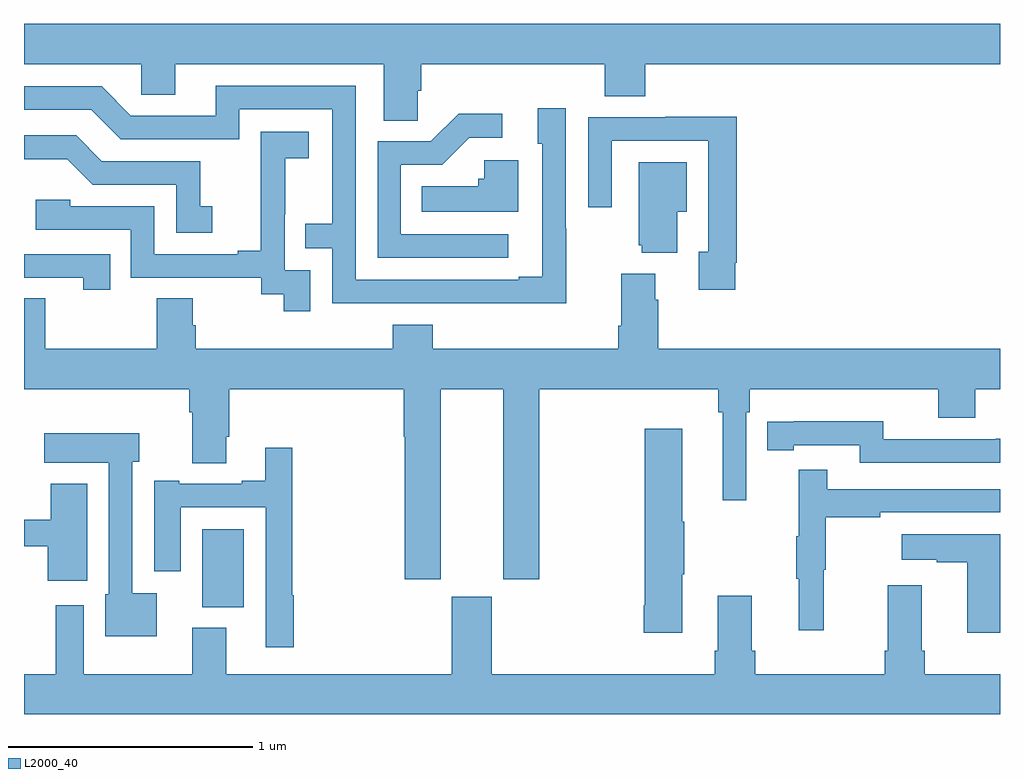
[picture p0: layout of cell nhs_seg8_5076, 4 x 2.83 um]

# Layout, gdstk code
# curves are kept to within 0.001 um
import gdstk
lib = gdstk.Library(unit=1e-6, precision=1e-09)
def R(c, l, rs):  # rectangles x0, y0, x1, y1
    for r in rs: c.add(gdstk.rectangle(r[:2], r[2:], *l))
def P(c, l, *ps):  # polygons
    for p in ps: c.add(gdstk.Polygon(p, *l))
L2000_40 = (2000, 40)

nhs_seg8_5076 = lib.new_cell('nhs_seg8_5076')
R(nhs_seg8_5076, L2000_40, [(417.731,1112.942,417.901,1113.262)])
P(nhs_seg8_5076, L2000_40, [(418.614,1115.059),(418.628,1115.059),(418.628,1115.168),(419.381,1115.168),(419.381,1115.035),(419.546,1115.035),(419.546,1115.168),(421,1115.168),(421,1115.332),(417,1115.332),(417,1115.168),(417.48,1115.168),(417.48,1115.041),(417.619,1115.041),(417.619,1115.168),(418.475,1115.168),(418.475,1114.936),(418.614,1114.936)],
  [(419.223,1114.493),(419.22,1114.493),(419.22,1114.987),(419.105,1114.987),(419.105,1114.842),(419.124,1114.842),(419.124,1114.297),(419.027,1114.297),(419.027,1114.284),(418.359,1114.284),(418.359,1115.079),(417.785,1115.079),(417.785,1114.956),(417.438,1114.956),(417.318,1115.076),(417,1115.076),(417,1114.98),(417.276,1114.98),(417.396,1114.86),(417.882,1114.86),(417.882,1114.983),(418.263,1114.983),(418.263,1114.514),(418.153,1114.514),(418.153,1114.413),(418.263,1114.413),(418.263,1114.188),(419.223,1114.187)],
  [(418.984,1114.47),(418.545,1114.47),(418.545,1114.755),(418.714,1114.755),(418.825,1114.866),(418.96,1114.866),(418.96,1114.964),(418.781,1114.964),(418.668,1114.851),(418.449,1114.851),(418.449,1114.374),(418.984,1114.374)],
  [(419.914,1114.354),(419.921,1114.354),(419.921,1114.952),(419.629,1114.952),(419.629,1114.95),(419.313,1114.95),(419.313,1114.581),(419.409,1114.581),(419.409,1114.854),(419.805,1114.854),(419.805,1114.398),(419.765,1114.398),(419.765,1114.242),(419.914,1114.242)],
  [(418.173,1114.323),(418.068,1114.323),(418.068,1114.553),(418.07,1114.553),(418.07,1114.781),(418.168,1114.781),(418.168,1114.891),(417.97,1114.891),(417.97,1114.685),(417.971,1114.685),(417.971,1114.402),(417.875,1114.402),(417.875,1114.389),(417.534,1114.389),(417.534,1114.584),(417.189,1114.584),(417.189,1114.611),(417.049,1114.611),(417.049,1114.488),(417.438,1114.488),(417.438,1114.293),(417.972,1114.293),(417.972,1114.225),(418.065,1114.225),(418.065,1114.155),(418.173,1114.155)],
  [(417.772,1114.585),(417.723,1114.585),(417.723,1114.77),(417.319,1114.77),(417.214,1114.875),(417,1114.875),(417,1114.778),(417.178,1114.778),(417.282,1114.674),(417.624,1114.674),(417.624,1114.476),(417.772,1114.476)],
  [(419.026,1114.774),(418.887,1114.774),(418.887,1114.698),(418.861,1114.698),(418.861,1114.666),(418.63,1114.666),(418.63,1114.562),(419.026,1114.562)],
  [(419.677,1114.562),(419.716,1114.562),(419.716,1114.765),(419.519,1114.765),(419.519,1114.425),(419.531,1114.425),(419.531,1114.394),(419.677,1114.394)],
  [(417.353,1114.389),(417,1114.389),(417,1114.293),(417.242,1114.293),(417.242,1114.242),(417.353,1114.242)],
  [(418.708,1113.836),(418.964,1113.836),(418.964,1113.057),(419.112,1113.057),(419.112,1113.836),(419.845,1113.836),(419.845,1113.74),(419.864,1113.74),(419.864,1113.381),(419.961,1113.381),(419.961,1113.74),(419.975,1113.74),(419.975,1113.836),(420.746,1113.836),(420.746,1113.719),(420.899,1113.719),(420.899,1113.836),(421,1113.836),(421,1114),(419.6,1114),(419.6,1114.202),(419.587,1114.202),(419.587,1114.309),(419.447,1114.309),(419.447,1114.096),(419.435,1114.096),(419.435,1114),(418.676,1114),(418.676,1114.099),(418.511,1114.099),(418.511,1114),(417.704,1114),(417.704,1114.098),(417.691,1114.098),(417.691,1114.208),(417.544,1114.208),(417.544,1114),(417.087,1114),(417.087,1114.208),(417,1114.208),(417,1113.836),(417.677,1113.836),(417.677,1113.74),(417.689,1113.74),(417.689,1113.532),(417.829,1113.532),(417.829,1113.64),(417.842,1113.64),(417.842,1113.836),(418.556,1113.836),(418.556,1113.64),(418.561,1113.64),(418.561,1113.057),(418.708,1113.057)],
  [(421,1113.632),(420.982,1113.632),(420.982,1113.63),(420.522,1113.63),(420.522,1113.703),(420.154,1113.703),(420.154,1113.702),(420.046,1113.702),(420.046,1113.586),(420.154,1113.586),(420.154,1113.606),(420.426,1113.606),(420.426,1113.534),(421,1113.534)],
  [(419.698,1113.076),(419.706,1113.076),(419.706,1113.293),(419.698,1113.293),(419.698,1113.673),(419.545,1113.673),(419.545,1112.95),(419.54,1112.95),(419.54,1112.838),(419.698,1112.838)],
  [(417.544,1112.998),(417.444,1112.998),(417.444,1113.537),(417.472,1113.537),(417.472,1113.655),(417.084,1113.655),(417.084,1113.533),(417.348,1113.533),(417.348,1112.994),(417.332,1112.994),(417.332,1112.822),(417.544,1112.822)],
  [(418.106,1112.99),(418.099,1112.99),(418.099,1113.595),(417.989,1113.595),(417.989,1113.46),(417.893,1113.46),(417.893,1113.447),(417.637,1113.447),(417.637,1113.46),(417.533,1113.46),(417.533,1113.09),(417.643,1113.09),(417.643,1113.351),(417.99,1113.351),(417.99,1112.778),(418.106,1112.778)],
  [(420.278,1113.096),(420.286,1113.096),(420.286,1113.31),(420.509,1113.31),(420.509,1113.33),(421,1113.33),(421,1113.426),(420.293,1113.426),(420.293,1113.505),(420.176,1113.505),(420.176,1113.233),(420.165,1113.233),(420.165,1113.059),(420.176,1113.059),(420.176,1112.847),(420.278,1112.847)],
  [(417.259,1113.448),(417.11,1113.448),(417.11,1113.301),(417,1113.301),(417,1113.192),(417.098,1113.192),(417.098,1113.051),(417.259,1113.051)],
  [(421,1113.241),(420.597,1113.241),(420.597,1113.137),(420.74,1113.137),(420.74,1113.127),(420.866,1113.127),(420.866,1112.838),(421,1112.838)],
  [(421,1112.668),(420.692,1112.668),(420.692,1112.764),(420.679,1112.764),(420.679,1113.031),(420.539,1113.031),(420.539,1112.764),(420.527,1112.764),(420.527,1112.668),(419.996,1112.668),(419.996,1112.764),(419.983,1112.764),(419.983,1112.989),(419.843,1112.989),(419.843,1112.764),(419.831,1112.764),(419.831,1112.668),(418.918,1112.668),(418.918,1112.985),(418.754,1112.985),(418.754,1112.668),(417.829,1112.668),(417.829,1112.857),(417.689,1112.857),(417.689,1112.668),(417.244,1112.668),(417.244,1112.95),(417.131,1112.95),(417.131,1112.668),(417,1112.668),(417,1112.504),(421,1112.504)])

lib.write_gds('nhs_seg8_5076.gds')
